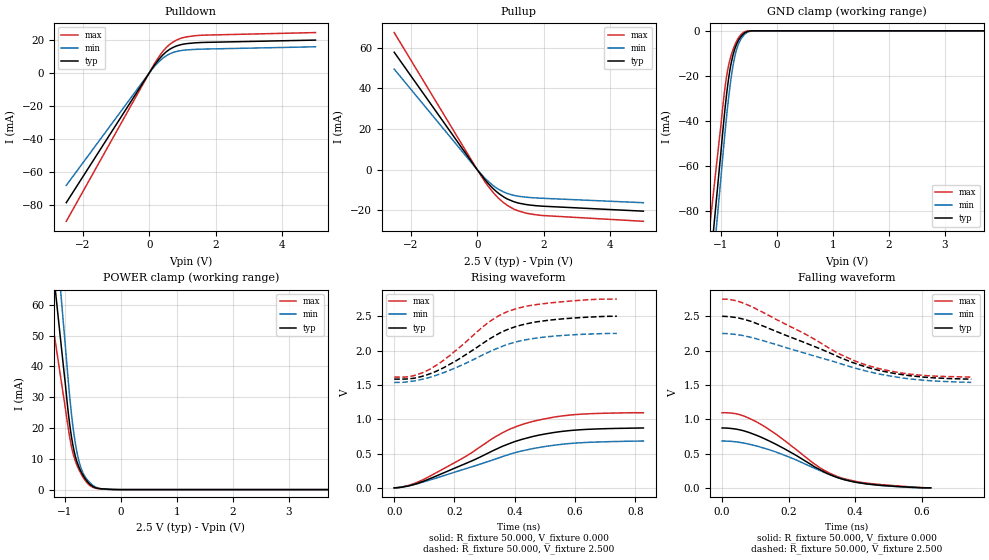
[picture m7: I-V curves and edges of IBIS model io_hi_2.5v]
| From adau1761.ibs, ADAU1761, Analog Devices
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[Model]   io_hi_2.5v
Model_type I/O
Vinl=7.500E-01
Vinh=1.750E+00
Vref=0.000E+00
Rref=1.000E+06
Cref=0.000E+00
Vmeas=1.250E+00
C_comp   5.9300E-13   5.6335E-13   6.2265E-13
[Voltage Range]   2.500E+00   2.250E+00   2.750E+00
[POWER Clamp Reference]   2.500E+00   2.250E+00   2.750E+00
[GND Clamp Reference]   0.000E+00   0.000E+00   0.000E+00
[Pullup Reference]   2.500E+00   2.250E+00   2.750E+00
[Pulldown Reference]   0.000E+00   0.000E+00   0.000E+00
[Temperature Range]   25   85   -40
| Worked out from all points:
|   slope of the pulldown table from 0 to 0.375 V, typ, clamps not added: 37.2 ohm
|   slope of the pullup table from 0 to 0.375 V, typ, clamps not added: 49.6 ohm
|   GND clamp passes 1 mA (typ) near -0.58 V on its own axis
|   POWER clamp passes 1 mA (typ) near -0.50 V on its own axis
|   rising waveform, R_fixture 50.000, V_fixture 0.000: 20-80 % time 277ps typ, 297ps min, 257ps max; typ from 0 V to 0.872 V
|   falling waveform, R_fixture 50.000, V_fixture 0.000: 20-80 % time 198ps typ, 209ps min, 188ps max; typ from 0.872 V to 0 V
|   rising waveform, R_fixture 50.000, V_fixture 2.500: 20-80 % time 211ps typ, 224ps min, 196ps max; typ from 1.58 V to 2.5 V
|   falling waveform, R_fixture 50.000, V_fixture 2.500: 20-80 % time 285ps typ, 303ps min, 268ps max; typ from 2.5 V to 1.58 V
[GND Clamp]
-2.5V     -448.1mA   -476.5mA   -381.8mA
-1.02V    -59.27mA   -70.88mA   -46.37mA
-940mV    -38.11mA   -48.86mA   -28.03mA
-900mV    -28.75mA   -38.64mA   -20.64mA
-860mV    -20.95mA   -29.46mA   -15.16mA
-800mV    -12.53mA   -18.14mA   -9.592mA
-760mV    -8.759mA   -12.52mA   -6.858mA
-700mV    -4.939mA   -6.837mA   -3.686mA
-640mV    -2.576mA   -3.665mA   -1.664mA
-580mV    -1.055mA   -1.703mA   -503.4uA
-420mV    0A         0A         0A
5V        0A         0A         0A
[Power Clamp]
-2.5V     292mA      367.3mA    208.9mA
-2.46V    285.1mA    358.2mA    203.7mA
-1.02V    38.54mA    52.11mA    29.5mA
-940mV    24.67mA    34.93mA    19.7mA
-900mV    19mA       27.15mA    15.37mA
-860mV    14.54mA    20.69mA    11.99mA
-800mV    9.811mA    13.41mA    8.515mA
-740mV    6.83mA     8.512mA    6.066mA
-680mV    4.697mA    5.489mA    4.096mA
-500mV    984.6uA    1.351mA    743.6uA
-20mV     0A         0A         0A
5V        0A         0A         0A
[Pullup]
-2.5V     57.81mA    49.52mA    67.5mA
0V        0A         -595.3nA   -387.3nA
240mV     -5.057mA   -4.338mA   -6.142mA
540mV     -10.21mA   -8.538mA   -12.33mA
800mV     -13.43mA   -10.97mA   -16.29mA
1.08V     -15.6mA    -12.54mA   -19.19mA
1.22V     -16.31mA   -12.99mA   -20.16mA
1.76V     -17.68mA   -13.87mA   -22.15mA
5V        -20.39mA   -16.22mA   -25.37mA
[Pulldown]
-2.5V     -78.38mA   -67.96mA   -89.64mA
80mV      2.471mA    2.058mA    2.921mA
180mV     5.361mA    4.44mA     6.364mA
400mV     10.64mA    8.696mA    12.73mA
620mV     14.28mA    11.5mA     17.26mA
940mV     16.93mA    13.38mA    20.76mA
1.38V     18.09mA    14.14mA    22.39mA
5V        19.75mA    15.71mA    24.29mA
[Rising Waveform]
R_fixture = 50.000
V_fixture = 0.000
V_fixture_min = 0.000
V_fixture_max = 0.000
|  time   V(typ)   V(min)   V(max)
0s        0V         0V         0V
47ps      27.16mV    29.61mV    35.53mV
102ps     104.4mV    92.63mV    132.2mV
237ps     354.4mV    278.6mV    456.9mV
357ps     601.3mV    452.1mV    797.3mV
431ps     715mV      544.9mV    932.3mV
527ps     804.4mV    619.1mV    1.028V
592ps     838.2mV    649.1mV    1.064V
666ps     857.2mV    666.8mV    1.083V
827ps     872.5mV    682.6mV    1.095V
[Falling Waveform]
R_fixture = 50.000
V_fixture = 0.000
V_fixture_min = 0.000
V_fixture_max = 0.000
|  time   V(typ)   V(min)   V(max)
0s        872.5mV    682.6mV    1.095V
50ps      848.5mV    665.3mV    1.07V
101ps     770.3mV    613mV      968.1mV
166ps     624.6mV    514.4mV    768.5mV
295ps     262.8mV    249.9mV    289.8mV
351ps     142.9mV    145.6mV    157.8mV
405ps     78.98mV    80.43mV    91.08mV
456ps     47.15mV    44.57mV    58.01mV
561ps     10.12mV    7.089mV    16.68mV
627ps     0V         0V         0V
[Rising Waveform]
R_fixture = 50.000
V_fixture = 2.500
V_fixture_min = 2.250
V_fixture_max = 2.750
|  time   V(typ)   V(min)   V(max)
0s        1.585V     1.537V     1.614V
62ps      1.595V     1.555V     1.632V
121ps     1.666V     1.615V     1.735V
206ps     1.853V     1.754V     2.007V
311ps     2.155V     1.972V     2.405V
350ps     2.255V     2.047V     2.514V
384ps     2.32V      2.102V     2.581V
443ps     2.394V     2.162V     2.65V
521ps     2.446V     2.207V     2.696V
739ps     2.5V       2.25V      2.75V
[Falling Waveform]
R_fixture = 50.000
V_fixture = 2.500
V_fixture_min = 2.250
V_fixture_max = 2.750
|  time   V(typ)   V(min)   V(max)
0s        2.5V       2.25V      2.75V
39ps      2.484V     2.236V     2.73V
85ps      2.428V     2.195V     2.648V
251ps     2.111V     1.96V      2.238V
357ps     1.894V     1.807V     1.941V
442ps     1.749V     1.691V     1.778V
499ps     1.685V     1.635V     1.709V
566ps     1.633V     1.587V     1.656V
638ps     1.603V     1.558V     1.629V
749ps     1.585V     1.537V     1.614V
[Ramp]
dV/dt_r   5.2350E-01/2.7650E-10   4.0957E-01/2.9719E-10   6.5670E-01/2.5669E-10
dV/dt_f   5.4918E-01/2.8512E-10   4.2786E-01/3.0256E-10   6.8154E-01/2.6753E-10
R_load = 50
